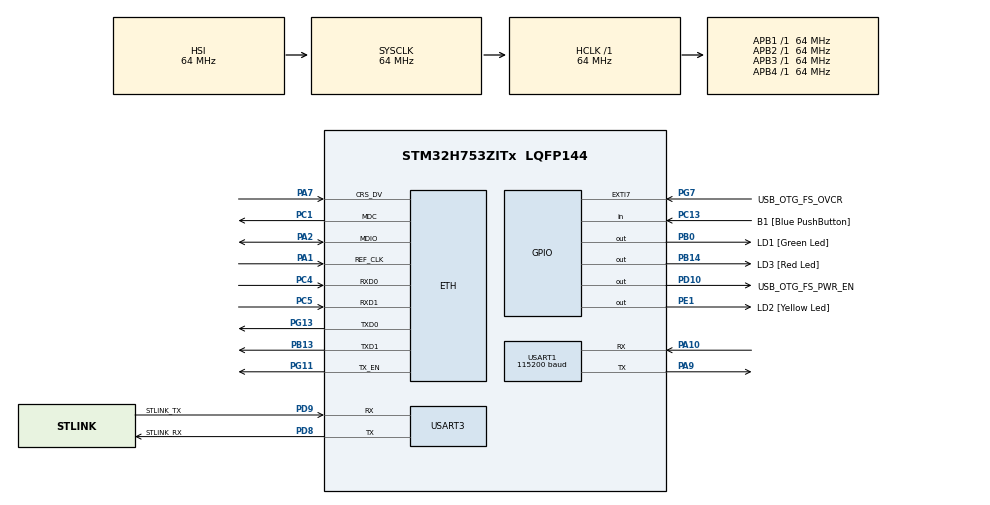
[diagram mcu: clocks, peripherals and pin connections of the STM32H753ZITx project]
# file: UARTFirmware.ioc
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CORTEX_M7.CPU_DCache=Disabled
CORTEX_M7.CPU_ICache=Disabled
CORTEX_M7.MPU_Control=__NULL
ETH.ETH_RX_DESC_CNT=4
ETH.ETH_TX_DESC_CNT=4
ETH.MACAddr=00\:80\:E1\:00\:00\:00
ETH.MediaInterface=HAL_ETH_RMII_MODE
ETH.RxBuffAddress=0x30040200
ETH.RxBuffLen=1524
ETH.RxDescAddress=0x30040000
ETH.TxDescAddress=0x30040060
Mcu.Family=STM32H7
Mcu.Name=STM32H753ZITx
Mcu.Package=LQFP144
NVIC.PriorityGroup=NVIC_PRIORITYGROUP_4
NVIC.USART1_IRQn=true\:0\:0\:false\:false\:true\:true\:true\:true
PA1.Mode=RMII
PA1.Signal=ETH_REF_CLK
PA10.Mode=Asynchronous
PA10.Signal=USART1_RX
PA2.Mode=RMII
PA2.Signal=ETH_MDIO
PA7.Mode=RMII
PA7.Signal=ETH_CRS_DV
PA9.Mode=Asynchronous
PA9.Signal=USART1_TX
PB0.GPIO_Label=LD1 [Green Led]
PB0.Signal=GPIO_Output
PB13.Mode=RMII
PB13.Signal=ETH_TXD1
PB14.GPIO_Label=LD3 [Red Led]
PB14.Signal=GPIO_Output
PC1.Mode=RMII
PC1.Signal=ETH_MDC
PC13.GPIO_Label=B1 [Blue PushButton]
PC13.Signal=GPIO_Input
PC14-OSC32_IN\ (OSC32_IN).Mode=LSE-External-Oscillator
PC14-OSC32_IN\ (OSC32_IN).Signal=RCC_OSC32_IN
PC15-OSC32_OUT\ (OSC32_OUT).Mode=LSE-External-Oscillator
PC15-OSC32_OUT\ (OSC32_OUT).Signal=RCC_OSC32_OUT
PC4.Mode=RMII
PC4.Signal=ETH_RXD0
PC5.Mode=RMII
PC5.Signal=ETH_RXD1
PD10.GPIO_Label=USB_OTG_FS_PWR_EN
PD10.Signal=GPIO_Output
PD8.GPIO_Label=STLINK_RX
PD8.Mode=Asynchronous
PD8.Signal=USART3_TX
PD9.GPIO_Label=STLINK_TX
PD9.Mode=Asynchronous
PD9.Signal=USART3_RX
PE1.GPIO_Label=LD2 [Yellow Led]
PE1.Signal=GPIO_Output
PG11.Mode=RMII
PG11.Signal=ETH_TX_EN
PG13.Mode=RMII
PG13.Signal=ETH_TXD0
PG7.GPIO_Label=USB_OTG_FS_OVCR
PG7.Signal=GPXTI7
PH0-OSC_IN\ (PH0).Mode=HSE-External-Clock-Source
PH0-OSC_IN\ (PH0).Signal=RCC_OSC_IN
PH1-OSC_OUT\ (PH1).Signal=RCC_OSC_OUT
ProjectManager.HeapSize=0x200
ProjectManager.StackSize=0x400
ProjectManager.TargetToolchain=STM32CubeIDE
RCC.ADCFreq_Value=16125000
RCC.APB1Freq_Value=64000000
RCC.APB2Freq_Value=64000000
RCC.APB3Freq_Value=64000000
RCC.APB4Freq_Value=64000000
RCC.CortexFreq_Value=64000000
RCC.DIVM1=1
RCC.DIVN1=24
RCC.DIVQ1=4
RCC.HCLKFreq_Value=64000000
RCC.HSE_VALUE=8000000
RCC.PLLFRACN=0
RCC.PLLSourceVirtual=RCC_PLLSOURCE_HSE
RCC.PWR_Regulator_Voltage_Scale=PWR_REGULATOR_VOLTAGE_SCALE2
RCC.SYSCLKFreq_VALUE=64000000
RCC.USBFreq_Value=48000000
USART1.BaudRate=115200
USART1.Parity=PARITY_NONE
USART1.VirtualMode-Asynchronous=VM_ASYNC
USART1.WordLength=WORDLENGTH_8B
USART3.VirtualMode-Asynchronous=VM_ASYNC
board=NUCLEO-H753ZI

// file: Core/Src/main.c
/* USER CODE BEGIN Header */
/**
  ******************************************************************************
  * @file           : main.c
  * @brief          : Main program body
  ******************************************************************************
  * @attention
  *
  * Copyright (c) 2024 STMicroelectronics.
  * All rights reserved.
  *
  * This software is licensed under terms that can be found in the LICENSE file
  * in the root directory of this software component.
  * If no LICENSE file comes with this software, it is provided AS-IS.
  *
  ******************************************************************************
  */
/* USER CODE END Header */
#include "main.h"
#include "string.h"

/* USER CODE BEGIN PTD */
typedef  void (*pFunction)(void);
/* USER CODE END PTD */

/* USER CODE BEGIN PD */
#define BOOTLOADER_FLAG_VALUE 0xDEADBEEF
#define BOOTLOADER_FLAG_OFFSET 1000
#define BOOTLOADER_ADDRESS 0x1FF09800
/* USER CODE END PD */

#if defined ( __ICCARM__ ) /*!< IAR Compiler */
#pragma location=0x30040000
ETH_DMADescTypeDef  DMARxDscrTab[ETH_RX_DESC_CNT]; /* Ethernet Rx DMA Descriptors */
#pragma location=0x30040060
ETH_DMADescTypeDef  DMATxDscrTab[ETH_TX_DESC_CNT]; /* Ethernet Tx DMA Descriptors */

#elif defined ( __CC_ARM )  /* MDK ARM Compiler */

__attribute__((at(0x30040000))) ETH_DMADescTypeDef  DMARxDscrTab[ETH_RX_DESC_CNT]; /* Ethernet Rx DMA Descriptors */
__attribute__((at(0x30040060))) ETH_DMADescTypeDef  DMATxDscrTab[ETH_TX_DESC_CNT]; /* Ethernet Tx DMA Descriptors */

#elif defined ( __GNUC__ ) /* GNU Compiler */
ETH_DMADescTypeDef DMARxDscrTab[ETH_RX_DESC_CNT] __attribute__((section(".RxDecripSection"))); /* Ethernet Rx DMA Descriptors */
ETH_DMADescTypeDef DMATxDscrTab[ETH_TX_DESC_CNT] __attribute__((section(".TxDecripSection")));   /* Ethernet Tx DMA Descriptors */

#endif

ETH_TxPacketConfig TxConfig;

ETH_HandleTypeDef heth;

UART_HandleTypeDef huart1;
UART_HandleTypeDef huart3;

/* USER CODE BEGIN PV */
extern int _estack;
uint32_t *bootloader_flag;
pFunction JumpToApplication;
uint32_t JumpAddress;
/* USER CODE END PV */

void SystemClock_Config(void);
static void MX_GPIO_Init(void);
static void MX_ETH_Init(void);
static void MX_USART3_UART_Init(void);
static void MX_USART1_UART_Init(void);

/* USER CODE BEGIN 0 */
void SetBootloaderFlag() {
	__disable_irq();
	*bootloader_flag = BOOTLOADER_FLAG_VALUE;
	HAL_UART_DeInit(&huart1);
	HAL_NVIC_SystemReset();
}
void JumpToBootloader(void)
{
	bootloader_flag = (uint32_t*) (&_estack - BOOTLOADER_FLAG_OFFSET); // below top of stack
	if (*bootloader_flag == BOOTLOADER_FLAG_VALUE) {
		*bootloader_flag = 0;
		/* Jump to system memory bootloader */
		JumpAddress = *(__IO uint32_t*) (BOOTLOADER_ADDRESS + 4);
		JumpToApplication = (pFunction) JumpAddress;
		__set_MSP(*(__IO uint32_t*) BOOTLOADER_ADDRESS);
		JumpToApplication();
	}
		*bootloader_flag = 0; // So next boot won't be affected
}
void HAL_UART_RxCpltCallback(UART_HandleTypeDef *huart)
{
	uint8_t rx_buffer[64];
	HAL_UART_Receive_IT(&huart1, rx_buffer, 1);
	uint8_t key_index = 0;
	unsigned char key = rx_buffer[key_index];
	switch (key)
	{
	case 0x2A: {
		char msg[] = "Entering Firmware Update Mode\n";
		HAL_UART_Transmit(&huart1, (uint8_t*)msg, strlen(msg), 1000);
		SetBootloaderFlag();
		break;
	}
	default:
	{
		break;
	}
	}
}
/* USER CODE END 0 */

int main(void)
{
  /* USER CODE BEGIN 1 */
	JumpToBootloader();
  /* USER CODE END 1 */

  /* MCU Configuration--------------------------------------------------------*/

  /* Reset of all peripherals, Initializes the Flash interface and the Systick. */
  HAL_Init();

  /* Configure the system clock */
  SystemClock_Config();

  /* Initialize all configured peripherals */
  MX_GPIO_Init();
  MX_ETH_Init();
  MX_USART3_UART_Init();
  MX_USART1_UART_Init();
  /* USER CODE BEGIN 2 */
  uint8_t rx_buffer[64];
  HAL_UART_Receive_IT(&huart1, rx_buffer, 1);
  //SetBootloaderFlag();
  /* USER CODE END 2 */

  /* Infinite loop */
  while (1)
  {

  }
}

void SystemClock_Config(void)
{
  RCC_OscInitTypeDef RCC_OscInitStruct = {0};
  RCC_ClkInitTypeDef RCC_ClkInitStruct = {0};

  /** Supply configuration update enable
  */
  HAL_PWREx_ConfigSupply(PWR_LDO_SUPPLY);

  /** Configure the main internal regulator output voltage
  */
  __HAL_PWR_VOLTAGESCALING_CONFIG(PWR_REGULATOR_VOLTAGE_SCALE2);

  while(!__HAL_PWR_GET_FLAG(PWR_FLAG_VOSRDY)) {}

  /** Initializes the RCC Oscillators according to the specified parameters
  * in the RCC_OscInitTypeDef structure.
  */
  RCC_OscInitStruct.OscillatorType = RCC_OSCILLATORTYPE_HSI;
  RCC_OscInitStruct.HSIState = RCC_HSI_DIV1;
  RCC_OscInitStruct.HSICalibrationValue = RCC_HSICALIBRATION_DEFAULT;
  RCC_OscInitStruct.PLL.PLLState = RCC_PLL_NONE;
  if (HAL_RCC_OscConfig(&RCC_OscInitStruct) != HAL_OK)
  {
    Error_Handler();
  }

  /** Initializes the CPU, AHB and APB buses clocks
  */
  RCC_ClkInitStruct.ClockType = RCC_CLOCKTYPE_HCLK|RCC_CLOCKTYPE_SYSCLK
                              |RCC_CLOCKTYPE_PCLK1|RCC_CLOCKTYPE_PCLK2
                              |RCC_CLOCKTYPE_D3PCLK1|RCC_CLOCKTYPE_D1PCLK1;
  RCC_ClkInitStruct.SYSCLKSource = RCC_SYSCLKSOURCE_HSI;
  RCC_ClkInitStruct.SYSCLKDivider = RCC_SYSCLK_DIV1;
  RCC_ClkInitStruct.AHBCLKDivider = RCC_HCLK_DIV1;
  RCC_ClkInitStruct.APB3CLKDivider = RCC_APB3_DIV1;
  RCC_ClkInitStruct.APB1CLKDivider = RCC_APB1_DIV1;
  RCC_ClkInitStruct.APB2CLKDivider = RCC_APB2_DIV1;
  RCC_ClkInitStruct.APB4CLKDivider = RCC_APB4_DIV1;

  if (HAL_RCC_ClockConfig(&RCC_ClkInitStruct, FLASH_LATENCY_1) != HAL_OK)
  {
    Error_Handler();
  }
}

static void MX_ETH_Init(void)
{

   static uint8_t MACAddr[6];

  heth.Instance = ETH;
  MACAddr[0] = 0x00;
  MACAddr[1] = 0x80;
  MACAddr[2] = 0xE1;
  MACAddr[3] = 0x00;
  MACAddr[4] = 0x00;
  MACAddr[5] = 0x00;
  heth.Init.MACAddr = &MACAddr[0];
  heth.Init.MediaInterface = HAL_ETH_RMII_MODE;
  heth.Init.TxDesc = DMATxDscrTab;
  heth.Init.RxDesc = DMARxDscrTab;
  heth.Init.RxBuffLen = 1524;

  if (HAL_ETH_Init(&heth) != HAL_OK)
  {
    Error_Handler();
  }

  memset(&TxConfig, 0 , sizeof(ETH_TxPacketConfig));
  TxConfig.Attributes = ETH_TX_PACKETS_FEATURES_CSUM | ETH_TX_PACKETS_FEATURES_CRCPAD;
  TxConfig.ChecksumCtrl = ETH_CHECKSUM_IPHDR_PAYLOAD_INSERT_PHDR_CALC;
  TxConfig.CRCPadCtrl = ETH_CRC_PAD_INSERT;

}

static void MX_USART1_UART_Init(void)
{

  huart1.Instance = USART1;
  huart1.Init.BaudRate = 115200;
  huart1.Init.WordLength = UART_WORDLENGTH_8B;
  huart1.Init.StopBits = UART_STOPBITS_1;
  huart1.Init.Parity = UART_PARITY_NONE;
  huart1.Init.Mode = UART_MODE_TX_RX;
  huart1.Init.HwFlowCtl = UART_HWCONTROL_NONE;
  huart1.Init.OverSampling = UART_OVERSAMPLING_16;
  huart1.Init.OneBitSampling = UART_ONE_BIT_SAMPLE_DISABLE;
  huart1.Init.ClockPrescaler = UART_PRESCALER_DIV1;
  huart1.AdvancedInit.AdvFeatureInit = UART_ADVFEATURE_NO_INIT;
  if (HAL_UART_Init(&huart1) != HAL_OK)
  {
    Error_Handler();
  }
  if (HAL_UARTEx_SetTxFifoThreshold(&huart1, UART_TXFIFO_THRESHOLD_1_8) != HAL_OK)
  {
    Error_Handler();
  }
  if (HAL_UARTEx_SetRxFifoThreshold(&huart1, UART_RXFIFO_THRESHOLD_1_8) != HAL_OK)
  {
    Error_Handler();
  }
  if (HAL_UARTEx_DisableFifoMode(&huart1) != HAL_OK)
  {
    Error_Handler();
  }

}

static void MX_USART3_UART_Init(void)
{

  huart3.Instance = USART3;
  huart3.Init.BaudRate = 115200;
  huart3.Init.WordLength = UART_WORDLENGTH_8B;
  huart3.Init.StopBits = UART_STOPBITS_1;
  huart3.Init.Parity = UART_PARITY_NONE;
  huart3.Init.Mode = UART_MODE_TX_RX;
  huart3.Init.HwFlowCtl = UART_HWCONTROL_NONE;
  huart3.Init.OverSampling = UART_OVERSAMPLING_16;
  huart3.Init.OneBitSampling = UART_ONE_BIT_SAMPLE_DISABLE;
  huart3.Init.ClockPrescaler = UART_PRESCALER_DIV1;
  huart3.AdvancedInit.AdvFeatureInit = UART_ADVFEATURE_NO_INIT;
  if (HAL_UART_Init(&huart3) != HAL_OK)
  {
    Error_Handler();
  }
  if (HAL_UARTEx_SetTxFifoThreshold(&huart3, UART_TXFIFO_THRESHOLD_1_8) != HAL_OK)
  {
    Error_Handler();
  }
  if (HAL_UARTEx_SetRxFifoThreshold(&huart3, UART_RXFIFO_THRESHOLD_1_8) != HAL_OK)
  {
    Error_Handler();
  }
  if (HAL_UARTEx_DisableFifoMode(&huart3) != HAL_OK)
  {
    Error_Handler();
  }

}

static void MX_GPIO_Init(void)
{
  GPIO_InitTypeDef GPIO_InitStruct = {0};

  /* GPIO Ports Clock Enable */
  __HAL_RCC_GPIOC_CLK_ENABLE();
  __HAL_RCC_GPIOH_CLK_ENABLE();
  __HAL_RCC_GPIOA_CLK_ENABLE();
  __HAL_RCC_GPIOB_CLK_ENABLE();
  __HAL_RCC_GPIOD_CLK_ENABLE();
  __HAL_RCC_GPIOG_CLK_ENABLE();
  __HAL_RCC_GPIOE_CLK_ENABLE();

  /*Configure GPIO pin Output Level */
  HAL_GPIO_WritePin(GPIOB, LD1_Pin|LD3_Pin, GPIO_PIN_RESET);

  /*Configure GPIO pin Output Level */
  HAL_GPIO_WritePin(USB_OTG_FS_PWR_EN_GPIO_Port, USB_OTG_FS_PWR_EN_Pin, GPIO_PIN_RESET);

  /*Configure GPIO pin Output Level */
  HAL_GPIO_WritePin(LD2_GPIO_Port, LD2_Pin, GPIO_PIN_RESET);

  /*Configure GPIO pin : B1_Pin */
  GPIO_InitStruct.Pin = B1_Pin;
  GPIO_InitStruct.Mode = GPIO_MODE_INPUT;
  GPIO_InitStruct.Pull = GPIO_NOPULL;
  HAL_GPIO_Init(B1_GPIO_Port, &GPIO_InitStruct);

  /*Configure GPIO pins : LD1_Pin LD3_Pin */
  GPIO_InitStruct.Pin = LD1_Pin|LD3_Pin;
  GPIO_InitStruct.Mode = GPIO_MODE_OUTPUT_PP;
  GPIO_InitStruct.Pull = GPIO_NOPULL;
  GPIO_InitStruct.Speed = GPIO_SPEED_FREQ_LOW;
  HAL_GPIO_Init(GPIOB, &GPIO_InitStruct);

  /*Configure GPIO pin : USB_OTG_FS_PWR_EN_Pin */
  GPIO_InitStruct.Pin = USB_OTG_FS_PWR_EN_Pin;
  GPIO_InitStruct.Mode = GPIO_MODE_OUTPUT_PP;
  GPIO_InitStruct.Pull = GPIO_NOPULL;
  GPIO_InitStruct.Speed = GPIO_SPEED_FREQ_LOW;
  HAL_GPIO_Init(USB_OTG_FS_PWR_EN_GPIO_Port, &GPIO_InitStruct);

  /*Configure GPIO pin : USB_OTG_FS_OVCR_Pin */
  GPIO_InitStruct.Pin = USB_OTG_FS_OVCR_Pin;
  GPIO_InitStruct.Mode = GPIO_MODE_IT_RISING;
  GPIO_InitStruct.Pull = GPIO_NOPULL;
  HAL_GPIO_Init(USB_OTG_FS_OVCR_GPIO_Port, &GPIO_InitStruct);

  /*Configure GPIO pin : LD2_Pin */
  GPIO_InitStruct.Pin = LD2_Pin;
  GPIO_InitStruct.Mode = GPIO_MODE_OUTPUT_PP;
  GPIO_InitStruct.Pull = GPIO_NOPULL;
  GPIO_InitStruct.Speed = GPIO_SPEED_FREQ_LOW;
  HAL_GPIO_Init(LD2_GPIO_Port, &GPIO_InitStruct);

}

void Error_Handler(void)
{
  __disable_irq();
  while (1)
  {
  }
}
